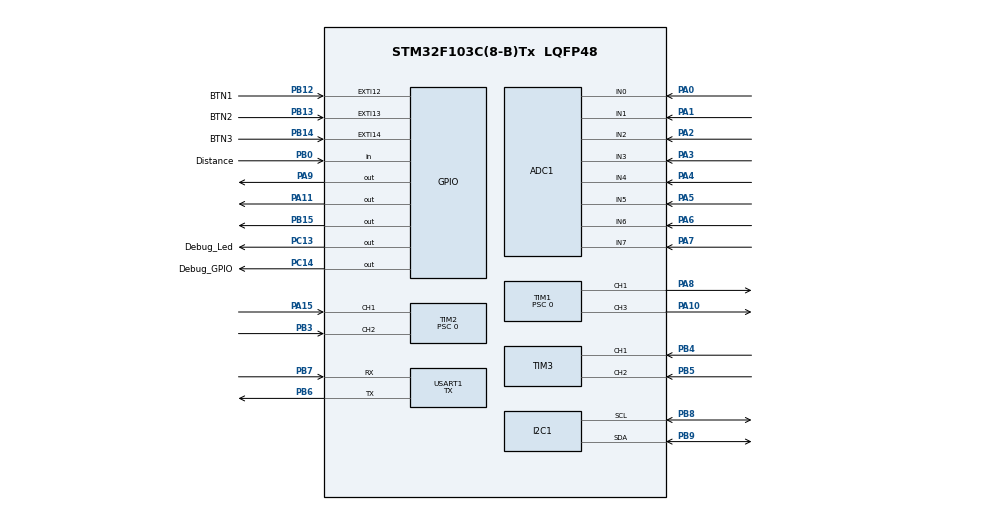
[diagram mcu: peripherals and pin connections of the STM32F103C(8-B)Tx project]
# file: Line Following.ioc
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ADC1.Channel-0\#ChannelRegularConversion=ADC_CHANNEL_0
ADC1.Channel-1\#ChannelRegularConversion=ADC_CHANNEL_1
ADC1.Channel-2\#ChannelRegularConversion=ADC_CHANNEL_2
ADC1.Channel-3\#ChannelRegularConversion=ADC_CHANNEL_3
ADC1.Channel-4\#ChannelRegularConversion=ADC_CHANNEL_4
ADC1.Channel-5\#ChannelRegularConversion=ADC_CHANNEL_5
ADC1.Channel-6\#ChannelRegularConversion=ADC_CHANNEL_6
ADC1.Channel-7\#ChannelRegularConversion=ADC_CHANNEL_7
ADC1.ContinuousConvMode=ENABLE
ADC1.NbrOfConversion=8
ADC1.NbrOfConversionFlag=1
ADC1.Rank-0\#ChannelRegularConversion=1
ADC1.Rank-1\#ChannelRegularConversion=2
ADC1.Rank-2\#ChannelRegularConversion=3
ADC1.Rank-3\#ChannelRegularConversion=4
ADC1.Rank-4\#ChannelRegularConversion=5
ADC1.Rank-5\#ChannelRegularConversion=6
ADC1.Rank-6\#ChannelRegularConversion=7
ADC1.Rank-7\#ChannelRegularConversion=8
ADC1.SamplingTime-0\#ChannelRegularConversion=ADC_SAMPLETIME_1CYCLE_5
ADC1.SamplingTime-1\#ChannelRegularConversion=ADC_SAMPLETIME_1CYCLE_5
ADC1.SamplingTime-2\#ChannelRegularConversion=ADC_SAMPLETIME_1CYCLE_5
ADC1.SamplingTime-3\#ChannelRegularConversion=ADC_SAMPLETIME_1CYCLE_5
ADC1.SamplingTime-4\#ChannelRegularConversion=ADC_SAMPLETIME_1CYCLE_5
ADC1.SamplingTime-5\#ChannelRegularConversion=ADC_SAMPLETIME_1CYCLE_5
ADC1.SamplingTime-6\#ChannelRegularConversion=ADC_SAMPLETIME_1CYCLE_5
ADC1.SamplingTime-7\#ChannelRegularConversion=ADC_SAMPLETIME_1CYCLE_5
ADC1.master=1
Dma.ADC1.0.Direction=DMA_PERIPH_TO_MEMORY
Dma.ADC1.0.Instance=DMA1_Channel1
Dma.ADC1.0.MemDataAlignment=DMA_MDATAALIGN_HALFWORD
Dma.ADC1.0.MemInc=DMA_MINC_ENABLE
Dma.ADC1.0.Mode=DMA_CIRCULAR
Dma.ADC1.0.PeriphDataAlignment=DMA_PDATAALIGN_HALFWORD
Dma.ADC1.0.PeriphInc=DMA_PINC_DISABLE
Dma.ADC1.0.Priority=DMA_PRIORITY_HIGH
Dma.Request0=ADC1
Mcu.Family=STM32F1
Mcu.Name=STM32F103C(8-B)Tx
Mcu.Package=LQFP48
NVIC.DMA1_Channel1_IRQn=true\:1\:0\:true\:false\:true\:false\:true
NVIC.EXTI15_10_IRQn=true\:2\:0\:true\:false\:true\:true\:true
NVIC.PriorityGroup=NVIC_PRIORITYGROUP_4
NVIC.TIM2_IRQn=true\:2\:0\:true\:false\:true\:true\:true
NVIC.TIM3_IRQn=true\:2\:0\:true\:false\:true\:true\:true
NVIC.TIM4_IRQn=true\:0\:0\:false\:false\:true\:true\:true
PA0-WKUP.Signal=ADCx_IN0
PA1.Signal=ADCx_IN1
PA10.GPIO_Speed=GPIO_SPEED_FREQ_HIGH
PA10.Signal=S_TIM1_CH3
PA11.GPIO_Speed=GPIO_SPEED_FREQ_HIGH
PA11.PinState=GPIO_PIN_RESET
PA11.Signal=GPIO_Output
PA13.Mode=Serial_Wire
PA13.Signal=SYS_JTMS-SWDIO
PA14.Mode=Serial_Wire
PA14.Signal=SYS_JTCK-SWCLK
PA15.GPIO_Mode=GPIO_MODE_INPUT
PA15.GPIO_PuPd=GPIO_NOPULL
PA15.Signal=S_TIM2_CH1_ETR
PA2.Signal=ADCx_IN2
PA3.Signal=ADCx_IN3
PA4.Signal=ADCx_IN4
PA5.Signal=ADCx_IN5
PA6.Signal=ADCx_IN6
PA7.Signal=ADCx_IN7
PA8.GPIO_Speed=GPIO_SPEED_FREQ_HIGH
PA8.Signal=S_TIM1_CH1
PA9.Signal=GPIO_Output
PB0.GPIO_Label=Distance
PB0.GPIO_PuPd=GPIO_PULLUP
PB0.Signal=GPIO_Input
PB12.GPIO_Label=BTN1
PB12.Signal=GPXTI12
PB13.GPIO_Label=BTN2
PB13.Signal=GPXTI13
PB14.GPIO_Label=BTN3
PB14.Signal=GPXTI14
PB15.GPIO_Speed=GPIO_SPEED_FREQ_HIGH
PB15.Signal=GPIO_Output
PB3.GPIO_Mode=GPIO_MODE_INPUT
PB3.GPIO_PuPd=GPIO_NOPULL
PB3.Signal=S_TIM2_CH2
PB4.GPIO_Mode=GPIO_MODE_INPUT
PB4.Signal=S_TIM3_CH1
PB5.GPIO_Mode=GPIO_MODE_INPUT
PB5.Signal=S_TIM3_CH2
PB6.Mode=Asynchronous
PB6.Signal=USART1_TX
PB7.Mode=Asynchronous
PB7.Signal=USART1_RX
PB8.GPIO_Pu=GPIO_PULLUP
PB8.Mode=I2C
PB8.Signal=I2C1_SCL
PB9.GPIO_Pu=GPIO_PULLUP
PB9.Mode=I2C
PB9.Signal=I2C1_SDA
PC13-TAMPER-RTC.GPIO_Label=Debug_Led
PC13-TAMPER-RTC.Signal=GPIO_Output
PC14-OSC32_IN.GPIO_Label=Debug_GPIO
PC14-OSC32_IN.GPIO_Speed=GPIO_SPEED_FREQ_HIGH
PC14-OSC32_IN.Signal=GPIO_Output
PD0-OSC_IN.Mode=HSE-External-Oscillator
PD0-OSC_IN.Signal=RCC_OSC_IN
PD1-OSC_OUT.Mode=HSE-External-Oscillator
PD1-OSC_OUT.Signal=RCC_OSC_OUT
ProjectManager.HeapSize=0x200
ProjectManager.StackSize=0x400
ProjectManager.TargetToolchain=STM32CubeIDE
RCC.ADCPresc=RCC_ADCPCLK2_DIV6
RCC.AHBFreq_Value=72000000
RCC.APB1CLKDivider=RCC_HCLK_DIV2
RCC.APB1Freq_Value=36000000
RCC.APB1TimFreq_Value=72000000
RCC.APB2Freq_Value=72000000
RCC.APB2TimFreq_Value=72000000
RCC.HCLKFreq_Value=72000000
RCC.PLLMUL=RCC_PLL_MUL9
RCC.PLLSourceVirtual=RCC_PLLSOURCE_HSE
RCC.SYSCLKFreq_VALUE=72000000
RCC.SYSCLKSource=RCC_SYSCLKSOURCE_PLLCLK
RCC.USBFreq_Value=72000000
RCC.VDD_VALUE=3.3
SH.ADCx_IN0.0=ADC1_IN0,IN0
SH.ADCx_IN1.0=ADC1_IN1,IN1
SH.ADCx_IN2.0=ADC1_IN2,IN2
SH.ADCx_IN3.0=ADC1_IN3,IN3
SH.ADCx_IN4.0=ADC1_IN4,IN4
SH.ADCx_IN5.0=ADC1_IN5,IN5
SH.ADCx_IN6.0=ADC1_IN6,IN6
SH.ADCx_IN7.0=ADC1_IN7,IN7
SH.S_TIM1_CH1.0=TIM1_CH1,PWM Generation1 CH1
SH.S_TIM1_CH3.0=TIM1_CH3,PWM Generation3 CH3
SH.S_TIM2_CH1_ETR.0=TIM2_CH1,Encoder_Interface
SH.S_TIM2_CH2.0=TIM2_CH2,Encoder_Interface
SH.S_TIM3_CH1.0=TIM3_CH1,Encoder_Interface
SH.S_TIM3_CH2.0=TIM3_CH2,Encoder_Interface
TIM1.AutoReloadPreload=TIM_AUTORELOAD_PRELOAD_DISABLE
TIM1.Channel-PWM\ Generation1\ CH1=TIM_CHANNEL_1
TIM1.Channel-PWM\ Generation3\ CH3=TIM_CHANNEL_3
TIM1.CounterMode=TIM_COUNTERMODE_UP
TIM1.OC1Preload_PWM=ENABLE
TIM1.OCIdleState_1=TIM_OCIDLESTATE_RESET
TIM1.OCPolarity_1=TIM_OCPOLARITY_HIGH
TIM1.Period=7199
TIM1.Prescaler=0
TIM1.Pulse-PWM\ Generation1\ CH1=0
TIM1.Pulse-PWM\ Generation3\ CH3=0
TIM2.AutoReloadPreload=TIM_AUTORELOAD_PRELOAD_DISABLE
TIM2.EncoderMode=TIM_ENCODERMODE_TI12
TIM2.IC1Filter=0
TIM2.IC1Polarity=TIM_ICPOLARITY_RISING
TIM2.IC2Filter=0
TIM2.IC2Polarity=TIM_ICPOLARITY_RISING
TIM2.Prescaler=0
TIM3.EncoderMode=TIM_ENCODERMODE_TI12
TIM4.AutoReloadPreload=TIM_AUTORELOAD_PRELOAD_DISABLE
TIM4.Channel-Output\ Compare2\ No\ Output=TIM_CHANNEL_2
TIM4.Channel-PWM\ Generation1\ No\ Output=TIM_CHANNEL_1
TIM4.ClockDivision=TIM_CLOCKDIVISION_DIV1
TIM4.OC1Preload_PWM=DISABLE
TIM4.OCMode_2=TIM_OCMODE_TIMING
TIM4.OCPolarity_1=TIM_OCPOLARITY_HIGH
TIM4.Period=59999
TIM4.Prescaler=23
TIM4.Pulse-Output\ Compare2\ No\ Output=4500
TIM4.Pulse-PWM\ Generation1\ No\ Output=4500
USART1.Mode=MODE_TX
USART1.VirtualMode=VM_ASYNC
VP_TIM4_VS_ClockSourceINT.Mode=Internal
VP_TIM4_VS_no_output1.Mode=PWM Generation1 No Output
VP_TIM4_VS_no_output2.Mode=Output Compare2 No Output
board=custom

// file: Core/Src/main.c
/* USER CODE BEGIN Header */
/**
 ******************************************************************************
 * @file           : main.c
 * @brief          : Main program body
 ******************************************************************************
 * @attention
 *
 * <h2><center>&copy; Copyright (c) 2020 .
 * All rights reserved.</center></h2>
 *
 * This software component is licensed by ST under BSD 3-Clause license,
 * the "License"; You may not use this file STMicroelectronicsexcept in compliance with the
 * License. You may obtain a copy of the License at:
 *                        opensource.org/licenses/BSD-3-Clause
 *
 ******************************************************************************
 */
/* USER CODE END Header */
#include "main.h"

/* USER CODE BEGIN Includes */

#include "MotorControl.h"
/* USER CODE END Includes */

/* USER CODE BEGIN PD */
#define NormalRun 1

#define ADC1_DR_Address ((uint32_t)0x4001244C)
#define ADC_Sample_Times 1000000 // So Lan doc ADC Lay nguong
#define NumberOfSensor 8

#define DiThang 0
#define LechPhai 1
#define LechTrai -1

#define HalfLeft -1
#define HalfRight 1

#define CuaTrai -1
#define CuaPhai 1
#define BTN_Servo_Step 0.6;

#define MaximumSpeed 6900
#define SignalSpeed 2000
/* USER CODE END PD */

/* USER CODE BEGIN PM */
#define sbi(Reg, Bit) (Reg |= (1 << Bit))
#define cbi(Reg, Bit) (Reg &= ~(1 << Bit))

/* USER CODE END PM */

/* USER CODE BEGIN PV */

// Sensor Related Variable
volatile uint16_t Sensor_ADC_Value[8];
//uint16_t Sensor_Threshold[] = { 1500, 1500, 1200, 1800, 1200, 1500, 1200, 1500 }; // Morning
uint16_t Sensor_Threshold[] = { 1500, 2000, 2000, 2500, 1600, 2000, 1200, 1500 }; // Morning

uint8_t GetThreshold_Flag = 0;
//int8_t MaxAngle = 70;
float ServoAngle = 0.00;

// Motor Related Variable
uint16_t MaxSpeed = 7200;
uint8_t LineDetect = 0;
int8_t CarState = 0;

int8_t ChuyenLaneFlag = 0;
int8_t HalfWhiteFlag = 0;
int8_t HalfWhiteFlag_Raw = 0;
int8_t CuaFlag = 0;
uint8_t FullWhiteFlag = 0;
uint8_t MatLineFlag = 0;

/* USER CODE END PV */

void SystemClock_Config(void);
static void MX_GPIO_Init(void);
static void MX_DMA_Init(void);
static void MX_TIM1_Init(void);
static void MX_ADC1_Init(void);
static void MX_I2C1_Init(void);
static void MX_USART1_UART_Init(void);
static void MX_TIM2_Init(void);
static void MX_TIM3_Init(void);
static void MX_TIM4_Init(void);
/* USER CODE BEGIN PFP */

void GetThreshold();
void Sensor_Convert_A2D();//Cost Time: 6 us with full Black . 8 uS with full white
void Sensor_Print_Thres();
void Sensor_PrintValue();
void Sensor_Print_LineDetect();
void BTN_Process();
void Car_DiThang_Process();
void Car_BamLine_Process();
void Car_MatLine_Process();
void Car_ChuyenLanePhai_Process();
void Car_ChuyenLaneTrai_Process();
void Car_CuaPhai_Process();
void Car_CuaTrai_Process();
void Car_Avoid_Process();
/* USER CODE END PFP */

/* USER CODE BEGIN 0 */
PUTCHAR_PROTOTYPE {
	while (LL_USART_IsActiveFlag_TC(USART1) == 0) {
	}
	LL_USART_TransmitData8(USART1, (uint8_t) ch);

	return ch;
}
/* USER CODE END 0 */

int main(void)
{

  /* MCU Configuration--------------------------------------------------------*/

  /* Reset of all peripherals, Initializes the Flash interface and the Systick. */

  LL_APB2_GRP1_EnableClock(LL_APB2_GRP1_PERIPH_AFIO);
  LL_APB1_GRP1_EnableClock(LL_APB1_GRP1_PERIPH_PWR);

  NVIC_SetPriorityGrouping(NVIC_PRIORITYGROUP_4);

  /* System interrupt init*/
  /* MemoryManagement_IRQn interrupt configuration */
  NVIC_SetPriority(MemoryManagement_IRQn, NVIC_EncodePriority(NVIC_GetPriorityGrouping(),1, 0));
  /* BusFault_IRQn interrupt configuration */
  NVIC_SetPriority(BusFault_IRQn, NVIC_EncodePriority(NVIC_GetPriorityGrouping(),1, 0));
  /* UsageFault_IRQn interrupt configuration */
  NVIC_SetPriority(UsageFault_IRQn, NVIC_EncodePriority(NVIC_GetPriorityGrouping(),1, 0));
  /* SVCall_IRQn interrupt configuration */
  NVIC_SetPriority(SVCall_IRQn, NVIC_EncodePriority(NVIC_GetPriorityGrouping(),1, 0));
  /* DebugMonitor_IRQn interrupt configuration */
  NVIC_SetPriority(DebugMonitor_IRQn, NVIC_EncodePriority(NVIC_GetPriorityGrouping(),1, 0));
  /* PendSV_IRQn interrupt configuration */
  NVIC_SetPriority(PendSV_IRQn, NVIC_EncodePriority(NVIC_GetPriorityGrouping(),1, 0));
  /* SysTick_IRQn interrupt configuration */
  NVIC_SetPriority(SysTick_IRQn, NVIC_EncodePriority(NVIC_GetPriorityGrouping(),1, 0));

  /** NOJTAG: JTAG-DP Disabled and SW-DP Enabled
  */
  LL_GPIO_AF_Remap_SWJ_NOJTAG();

  /* USER CODE BEGIN Init */
	setvbuf(stdin, NULL, _IONBF, 0);
	setvbuf(stdout, NULL, _IONBF, 0);
	setvbuf(stderr, NULL, _IONBF, 0);
  /* USER CODE END Init */

  /* Configure the system clock */
  SystemClock_Config();

  /* Initialize all configured peripherals */
  MX_GPIO_Init();
  MX_DMA_Init();
  MX_TIM1_Init();
  MX_ADC1_Init();
  MX_I2C1_Init();
  MX_USART1_UART_Init();
  MX_TIM2_Init();
  MX_TIM3_Init();
  MX_TIM4_Init();
  /* USER CODE BEGIN 2 */
	MotorL_EnablePWM();
	MotorR_EnablePWM();
	MotorL_SetPWM(0);
	MotorR_SetPWM(0);
	Servo_SetAngle(0);
	//  OC2_IT_Setmillis(2.5);

  /* USER CODE END 2 */

  /* Infinite loop */
  /* USER CODE BEGIN WHILE */

	//  uint32_t Count = LL_TIM_GetCounter(TIM2);
	uint8_t DistanceState = 0;
	while (1) {
//		LL_mDelay(1);
	Sensor_Convert_A2D();
//    Sensor_PrintValue();

#if NormalRun == 0
		BTN_Process();
		//	  Sensor_Print_Thres();
		Sensor_PrintValue();
//    	  LL_mDelay(200);
//	  Sensor_Print_LineDetect();
#endif

#if NormalRun == 1

    DistanceState = LL_GPIO_IsInputPinSet(Distance_GPIO_Port, Distance_Pin);

    if(GetThreshold_Flag == 1)
    {
    	while(LL_GPIO_IsInputPinSet(BTN1_GPIO_Port,BTN1_Pin) == 0);
    	GetThreshold_Flag = 0;
    	GetThreshold();
    }
    if(BTN3_Flag == 0){
    	MotorL_SetPWM(0);
    	MotorR_SetPWM(0);
    	Servo_SetAngle(0);
    	CarState = 0;
    	FullWhiteFlag = 0;
    	HalfWhiteFlag = 0;
    	HalfWhiteFlag_Raw = 0;
    	MatLineFlag = 0;
    	CuaFlag = 0;
    	LineDetect = 0;
    	continue;
    }
    if (HalfWhiteFlag != 0 || FullWhiteFlag != 0 ||
    	HalfWhiteFlag_Raw != 0 || ChuyenLaneFlag != 0)
    {
      MaxSpeed = SignalSpeed;
    }
    else
    {
      MaxSpeed = MaximumSpeed;
    }
    if (CarState == DiThang)
        {
          if (LineDetect == 0b10000000 || LineDetect == 0b11000000 ||
              LineDetect == 0b11100000 || LineDetect == 0b01110000 ||
              LineDetect == 0b00110000 || LineDetect == 0b00010000)
          {
            CarState = LechPhai;// 25-30us
          }
          else if (LineDetect == 0b00000001 || LineDetect == 0b00000011 ||
                   LineDetect == 0b00000111 || LineDetect == 0b00001110 ||
                   LineDetect == 0b00001100 || LineDetect == 0b00001000)
          {
            CarState = LechTrai;// 25-30us
          }
        }
    if(FullWhiteFlag == 1 && DistanceState == 0)
    {
    	Car_Avoid_Process();
    	FullWhiteFlag = 0;

		continue;
    }
    if (LineDetect == 0b00011000 || LineDetect == 0b00011100 || LineDetect == 0b00111000) // 18.8 us
    {
      if (HalfWhiteFlag_Raw == HalfLeft)
      {
        HalfWhiteFlag_Raw = 0;
        HalfWhiteFlag = HalfLeft;
      }
      else if (HalfWhiteFlag_Raw == HalfRight)
      {
        HalfWhiteFlag_Raw = 0;
        HalfWhiteFlag = HalfRight;
      }

      MatLineFlag = 0;
      ChuyenLaneFlag = 0;
      CarState = DiThang;

      Car_DiThang_Process();
      continue;
    }
    else if (LineDetect == 0b01111111 || LineDetect == 0b00111111 || LineDetect == 0b00011111)
    {
    	if(FullWhiteFlag == 1)
    	{
    		FullWhiteFlag = 0;
    		while(LineDetect != 0)
    			Sensor_Convert_A2D();
    		Car_CuaPhai_Process();
    		HalfWhiteFlag = 0;
    		continue;
    	} else if(ChuyenLaneFlag == 0)
    	{
    		HalfWhiteFlag_Raw = HalfRight;
        	while(LineDetect == 0b01111111 || LineDetect == 0b00111111 || LineDetect == 0b00011111 || LineDetect == 0b00001111)
        	{
        		Sensor_Convert_A2D();
        	}
    	};

    }
    else if (LineDetect == 0b11111000 || LineDetect == 0b11111100 || LineDetect == 0b11111110)
    {
    	if(FullWhiteFlag == 1)
    	{
    		FullWhiteFlag = 0;
    		while(LineDetect != 0)
    			Sensor_Convert_A2D();
    		Car_CuaTrai_Process();
    		HalfWhiteFlag = 0;
    		continue;
    	} else if(ChuyenLaneFlag == 0)
    	{
    		HalfWhiteFlag_Raw = HalfLeft;
        	while(LineDetect == 0b11111000 || LineDetect == 0b11111100 || LineDetect == 0b11111110)
        	{
        		Sensor_Convert_A2D();
        	}
    	}
    }
    else if (LineDetect == 0xff)
    {

    	if(HalfWhiteFlag == HalfLeft)
    	{
    		while(LineDetect != 0)
    			Sensor_Convert_A2D();
    		Car_CuaTrai_Process();
    		CuaFlag = 0;
    		HalfWhiteFlag = 0;
    		HalfWhiteFlag_Raw = 0;
    		continue;
    	} else if(HalfWhiteFlag == HalfRight)
    	{
    		while(LineDetect != 0)
    		{
    			Sensor_Convert_A2D();
    		}
    		Car_CuaPhai_Process();
    		CuaFlag = 0;
    		HalfWhiteFlag = 0;
    		HalfWhiteFlag_Raw = 0;
    		continue;
    	}else
    	{
    		FullWhiteFlag = 1;
    		HalfWhiteFlag_Raw = 0;
    	}
    	while(!(LineDetect == 0b00011000 || LineDetect == 0b00011100 || LineDetect == 0b00111000||
    			LineDetect == 0b11100000 || LineDetect == 0b01110000 ||
    			LineDetect == 0b00110000 || LineDetect == 0b00010000 ||
				LineDetect == 0b00000111 || LineDetect == 0b00001110 ||
				LineDetect == 0b00001100 || LineDetect == 0b00001000 ||
				LineDetect == 0))
    	    			Sensor_Convert_A2D();
    	HalfWhiteFlag_Raw = 0;
    }
    else if (LineDetect == 0)
    {
    	if (HalfWhiteFlag == HalfRight)
    	{
    		HalfWhiteFlag = 0;
    		HalfWhiteFlag_Raw = 0;
    		Car_ChuyenLanePhai_Process();
    		continue;
    	} else if(HalfWhiteFlag == HalfLeft)
    	{
    		HalfWhiteFlag = 0;
    		HalfWhiteFlag_Raw = 0;
    		Car_ChuyenLaneTrai_Process();
    		continue;
    	} else if(FullWhiteFlag == 1)
    	{
    		FullWhiteFlag = 0 ;
    		HalfWhiteFlag_Raw = 0;
    		Servo_SetAngle(-10);
    		MotorL_SetPWM(MaxSpeed * 1.2);
    		MotorR_SetPWM(MaxSpeed * 1.5);
    		while(!(LineDetect == 0b00011000 || LineDetect == 0b00011100 || LineDetect == 0b00111000))
    		{
    			Sensor_Convert_A2D();
    			Car_MatLine_Process();
    		}
    		continue;
    	}
    };
      Car_BamLine_Process();
#endif
    /* USER CODE END WHILE */

	}
}

void SystemClock_Config(void)
{
  LL_FLASH_SetLatency(LL_FLASH_LATENCY_2);
  while(LL_FLASH_GetLatency()!= LL_FLASH_LATENCY_2)
  {
  }
  LL_RCC_HSE_Enable();

   /* Wait till HSE is ready */
  while(LL_RCC_HSE_IsReady() != 1)
  {

  }
  LL_RCC_PLL_ConfigDomain_SYS(LL_RCC_PLLSOURCE_HSE_DIV_1, LL_RCC_PLL_MUL_9);
  LL_RCC_PLL_Enable();

   /* Wait till PLL is ready */
  while(LL_RCC_PLL_IsReady() != 1)
  {

  }
  LL_RCC_SetAHBPrescaler(LL_RCC_SYSCLK_DIV_1);
  LL_RCC_SetAPB1Prescaler(LL_RCC_APB1_DIV_2);
  LL_RCC_SetAPB2Prescaler(LL_RCC_APB2_DIV_1);
  LL_RCC_SetSysClkSource(LL_RCC_SYS_CLKSOURCE_PLL);

   /* Wait till System clock is ready */
  while(LL_RCC_GetSysClkSource() != LL_RCC_SYS_CLKSOURCE_STATUS_PLL)
  {

  }
  LL_Init1msTick(72000000);
  LL_SetSystemCoreClock(72000000);
  LL_RCC_SetADCClockSource(LL_RCC_ADC_CLKSRC_PCLK2_DIV_6);
}

static void MX_ADC1_Init(void)
{

  LL_ADC_InitTypeDef ADC_InitStruct = {0};
  LL_ADC_CommonInitTypeDef ADC_CommonInitStruct = {0};
  LL_ADC_REG_InitTypeDef ADC_REG_InitStruct = {0};

  LL_GPIO_InitTypeDef GPIO_InitStruct = {0};

  /* Peripheral clock enable */
  LL_APB2_GRP1_EnableClock(LL_APB2_GRP1_PERIPH_ADC1);

  LL_APB2_GRP1_EnableClock(LL_APB2_GRP1_PERIPH_GPIOA);
  /**ADC1 GPIO Configuration
  PA0-WKUP   ------> ADC1_IN0
  PA1   ------> ADC1_IN1
  PA2   ------> ADC1_IN2
  PA3   ------> ADC1_IN3
  PA4   ------> ADC1_IN4
  PA5   ------> ADC1_IN5
  PA6   ------> ADC1_IN6
  PA7   ------> ADC1_IN7
  */
  GPIO_InitStruct.Pin = LL_GPIO_PIN_0|LL_GPIO_PIN_1|LL_GPIO_PIN_2|LL_GPIO_PIN_3
                          |LL_GPIO_PIN_4|LL_GPIO_PIN_5|LL_GPIO_PIN_6|LL_GPIO_PIN_7;
  GPIO_InitStruct.Mode = LL_GPIO_MODE_ANALOG;
  LL_GPIO_Init(GPIOA, &GPIO_InitStruct);

  /* ADC1 DMA Init */

  /* ADC1 Init */
  LL_DMA_SetDataTransferDirection(DMA1, LL_DMA_CHANNEL_1, LL_DMA_DIRECTION_PERIPH_TO_MEMORY);

  LL_DMA_SetChannelPriorityLevel(DMA1, LL_DMA_CHANNEL_1, LL_DMA_PRIORITY_HIGH);

  LL_DMA_SetMode(DMA1, LL_DMA_CHANNEL_1, LL_DMA_MODE_CIRCULAR);

  LL_DMA_SetPeriphIncMode(DMA1, LL_DMA_CHANNEL_1, LL_DMA_PERIPH_NOINCREMENT);

  LL_DMA_SetMemoryIncMode(DMA1, LL_DMA_CHANNEL_1, LL_DMA_MEMORY_INCREMENT);

  LL_DMA_SetPeriphSize(DMA1, LL_DMA_CHANNEL_1, LL_DMA_PDATAALIGN_HALFWORD);

  LL_DMA_SetMemorySize(DMA1, LL_DMA_CHANNEL_1, LL_DMA_MDATAALIGN_HALFWORD);

  /* USER CODE BEGIN ADC1_Init 1 */
	LL_DMA_SetDataLength(DMA1, LL_DMA_CHANNEL_1, 8);
	LL_DMA_SetMemoryAddress(DMA1, LL_DMA_CHANNEL_1,
			(uint32_t) &Sensor_ADC_Value);
	LL_DMA_SetPeriphAddress(DMA1, LL_DMA_CHANNEL_1, ADC1_DR_Address);
	LL_DMA_EnableChannel(DMA1, LL_DMA_CHANNEL_1);
  /* USER CODE END ADC1_Init 1 */
  /** Common config
  */
  ADC_InitStruct.DataAlignment = LL_ADC_DATA_ALIGN_RIGHT;
  ADC_InitStruct.SequencersScanMode = LL_ADC_SEQ_SCAN_ENABLE;
  LL_ADC_Init(ADC1, &ADC_InitStruct);
  ADC_CommonInitStruct.Multimode = LL_ADC_MULTI_INDEPENDENT;
  LL_ADC_CommonInit(__LL_ADC_COMMON_INSTANCE(ADC1), &ADC_CommonInitStruct);
  ADC_REG_InitStruct.TriggerSource = LL_ADC_REG_TRIG_SOFTWARE;
  ADC_REG_InitStruct.SequencerLength = LL_ADC_REG_SEQ_SCAN_ENABLE_8RANKS;
  ADC_REG_InitStruct.SequencerDiscont = LL_ADC_REG_SEQ_DISCONT_DISABLE;
  ADC_REG_InitStruct.ContinuousMode = LL_ADC_REG_CONV_CONTINUOUS;
  ADC_REG_InitStruct.DMATransfer = LL_ADC_REG_DMA_TRANSFER_UNLIMITED;
  LL_ADC_REG_Init(ADC1, &ADC_REG_InitStruct);
  /** Configure Regular Channel
  */
  LL_ADC_REG_SetSequencerRanks(ADC1, LL_ADC_REG_RANK_1, LL_ADC_CHANNEL_0);
  LL_ADC_SetChannelSamplingTime(ADC1, LL_ADC_CHANNEL_0, LL_ADC_SAMPLINGTIME_1CYCLE_5);
  /** Configure Regular Channel
  */
  LL_ADC_REG_SetSequencerRanks(ADC1, LL_ADC_REG_RANK_2, LL_ADC_CHANNEL_1);
  LL_ADC_SetChannelSamplingTime(ADC1, LL_ADC_CHANNEL_1, LL_ADC_SAMPLINGTIME_1CYCLE_5);
  /** Configure Regular Channel
  */
  LL_ADC_REG_SetSequencerRanks(ADC1, LL_ADC_REG_RANK_3, LL_ADC_CHANNEL_2);
  LL_ADC_SetChannelSamplingTime(ADC1, LL_ADC_CHANNEL_2, LL_ADC_SAMPLINGTIME_1CYCLE_5);
  /** Configure Regular Channel
  */
  LL_ADC_REG_SetSequencerRanks(ADC1, LL_ADC_REG_RANK_4, LL_ADC_CHANNEL_3);
  LL_ADC_SetChannelSamplingTime(ADC1, LL_ADC_CHANNEL_3, LL_ADC_SAMPLINGTIME_1CYCLE_5);
  /** Configure Regular Channel
  */
  LL_ADC_REG_SetSequencerRanks(ADC1, LL_ADC_REG_RANK_5, LL_ADC_CHANNEL_4);
  LL_ADC_SetChannelSamplingTime(ADC1, LL_ADC_CHANNEL_4, LL_ADC_SAMPLINGTIME_1CYCLE_5);
  /** Configure Regular Channel
  */
  LL_ADC_REG_SetSequencerRanks(ADC1, LL_ADC_REG_RANK_6, LL_ADC_CHANNEL_5);
  LL_ADC_SetChannelSamplingTime(ADC1, LL_ADC_CHANNEL_5, LL_ADC_SAMPLINGTIME_1CYCLE_5);
  /** Configure Regular Channel
  */
  LL_ADC_REG_SetSequencerRanks(ADC1, LL_ADC_REG_RANK_7, LL_ADC_CHANNEL_6);
  LL_ADC_SetChannelSamplingTime(ADC1, LL_ADC_CHANNEL_6, LL_ADC_SAMPLINGTIME_1CYCLE_5);
  /** Configure Regular Channel
  */
  LL_ADC_REG_SetSequencerRanks(ADC1, LL_ADC_REG_RANK_8, LL_ADC_CHANNEL_7);
  LL_ADC_SetChannelSamplingTime(ADC1, LL_ADC_CHANNEL_7, LL_ADC_SAMPLINGTIME_1CYCLE_5);
  /* USER CODE BEGIN ADC1_Init 2 */

	LL_ADC_REG_SetDMATransfer(ADC1, LL_ADC_REG_DMA_TRANSFER_UNLIMITED);
	/* Khoi dong bo ADC */
	LL_ADC_Enable(ADC1);
	LL_ADC_StartCalibration(ADC1);

	/* Cho trang thai cablib duoc bat *
	 *
	 */
	while (LL_ADC_IsCalibrationOnGoing(ADC1))
		;

	/* Bat dau chuyen doi ADC */
	LL_ADC_REG_StartConversionSWStart(ADC1);
  /* USER CODE END ADC1_Init 2 */

}

static void MX_I2C1_Init(void)
{

  LL_I2C_InitTypeDef I2C_InitStruct = {0};

  LL_GPIO_InitTypeDef GPIO_InitStruct = {0};

  LL_APB2_GRP1_EnableClock(LL_APB2_GRP1_PERIPH_GPIOB);
  /**I2C1 GPIO Configuration
  PB8   ------> I2C1_SCL
  PB9   ------> I2C1_SDA
  */
  GPIO_InitStruct.Pin = LL_GPIO_PIN_8|LL_GPIO_PIN_9;
  GPIO_InitStruct.Mode = LL_GPIO_MODE_ALTERNATE;
  GPIO_InitStruct.Speed = LL_GPIO_SPEED_FREQ_HIGH;
  GPIO_InitStruct.OutputType = LL_GPIO_OUTPUT_OPENDRAIN;
  LL_GPIO_Init(GPIOB, &GPIO_InitStruct);

  LL_GPIO_AF_EnableRemap_I2C1();

  /* Peripheral clock enable */
  LL_APB1_GRP1_EnableClock(LL_APB1_GRP1_PERIPH_I2C1);

  /** I2C Initialization
  */
  LL_I2C_DisableOwnAddress2(I2C1);
  LL_I2C_DisableGeneralCall(I2C1);
  LL_I2C_EnableClockStretching(I2C1);
  I2C_InitStruct.PeripheralMode = LL_I2C_MODE_I2C;
  I2C_InitStruct.ClockSpeed = 100000;
  I2C_InitStruct.DutyCycle = LL_I2C_DUTYCYCLE_2;
  I2C_InitStruct.OwnAddress1 = 0;
  I2C_InitStruct.TypeAcknowledge = LL_I2C_ACK;
  I2C_InitStruct.OwnAddrSize = LL_I2C_OWNADDRESS1_7BIT;
  LL_I2C_Init(I2C1, &I2C_InitStruct);
  LL_I2C_SetOwnAddress2(I2C1, 0);
  /* USER CODE BEGIN I2C1_Init 2 */
	LL_I2C_Enable(I2C1);

  /* USER CODE END I2C1_Init 2 */

}

static void MX_TIM1_Init(void)
{

  LL_TIM_InitTypeDef TIM_InitStruct = {0};
  LL_TIM_OC_InitTypeDef TIM_OC_InitStruct = {0};
  LL_TIM_BDTR_InitTypeDef TIM_BDTRInitStruct = {0};

  LL_GPIO_InitTypeDef GPIO_InitStruct = {0};

  /* Peripheral clock enable */
  LL_APB2_GRP1_EnableClock(LL_APB2_GRP1_PERIPH_TIM1);

  TIM_InitStruct.Prescaler = 0;
  TIM_InitStruct.CounterMode = LL_TIM_COUNTERMODE_UP;
  TIM_InitStruct.Autoreload = 7199;
  TIM_InitStruct.ClockDivision = LL_TIM_CLOCKDIVISION_DIV1;
  TIM_InitStruct.RepetitionCounter = 0;
  LL_TIM_Init(TIM1, &TIM_InitStruct);
  LL_TIM_DisableARRPreload(TIM1);
  LL_TIM_OC_EnablePreload(TIM1, LL_TIM_CHANNEL_CH1);
  TIM_OC_InitStruct.OCMode = LL_TIM_OCMODE_PWM1;
  TIM_OC_InitStruct.OCState = LL_TIM_OCSTATE_DISABLE;
  TIM_OC_InitStruct.OCNState = LL_TIM_OCSTATE_DISABLE;
  TIM_OC_InitStruct.CompareValue = 0;
  TIM_OC_InitStruct.OCPolarity = LL_TIM_OCPOLARITY_HIGH;
  TIM_OC_InitStruct.OCNPolarity = LL_TIM_OCPOLARITY_HIGH;
  TIM_OC_InitStruct.OCIdleState = LL_TIM_OCIDLESTATE_LOW;
  TIM_OC_InitStruct.OCNIdleState = LL_TIM_OCIDLESTATE_LOW;
  LL_TIM_OC_Init(TIM1, LL_TIM_CHANNEL_CH1, &TIM_OC_InitStruct);
  LL_TIM_OC_DisableFast(TIM1, LL_TIM_CHANNEL_CH1);
  LL_TIM_OC_EnablePreload(TIM1, LL_TIM_CHANNEL_CH3);
  LL_TIM_OC_Init(TIM1, LL_TIM_CHANNEL_CH3, &TIM_OC_InitStruct);
  LL_TIM_OC_DisableFast(TIM1, LL_TIM_CHANNEL_CH3);
  LL_TIM_SetTriggerOutput(TIM1, LL_TIM_TRGO_RESET);
  LL_TIM_DisableMasterSlaveMode(TIM1);
  TIM_BDTRInitStruct.OSSRState = LL_TIM_OSSR_DISABLE;
  TIM_BDTRInitStruct.OSSIState = LL_TIM_OSSI_DISABLE;
  TIM_BDTRInitStruct.LockLevel = LL_TIM_LOCKLEVEL_OFF;
  TIM_BDTRInitStruct.DeadTime = 0;
  TIM_BDTRInitStruct.BreakState = LL_TIM_BREAK_DISABLE;
  TIM_BDTRInitStruct.BreakPolarity = LL_TIM_BREAK_POLARITY_HIGH;
  TIM_BDTRInitStruct.AutomaticOutput = LL_TIM_AUTOMATICOUTPUT_DISABLE;
  LL_TIM_BDTR_Init(TIM1, &TIM_BDTRInitStruct);
  /* USER CODE BEGIN TIM1_Init 2 */
	LL_TIM_EnableIT_UPDATE(TIM1);
	LL_TIM_SetCounter(TIM1, 0);
	LL_TIM_EnableAllOutputs(TIM1);
	LL_TIM_EnableCounter(TIM1);

  /* USER CODE END TIM1_Init 2 */
  LL_APB2_GRP1_EnableClock(LL_APB2_GRP1_PERIPH_GPIOA);
  /**TIM1 GPIO Configuration
  PA8   ------> TIM1_CH1
  PA10   ------> TIM1_CH3
  */
  GPIO_InitStruct.Pin = LL_GPIO_PIN_8|LL_GPIO_PIN_10;
  GPIO_InitStruct.Mode = LL_GPIO_MODE_ALTERNATE;
  GPIO_InitStruct.Speed = LL_GPIO_SPEED_FREQ_HIGH;
  GPIO_InitStruct.OutputType = LL_GPIO_OUTPUT_PUSHPULL;
  LL_GPIO_Init(GPIOA, &GPIO_InitStruct);

}

static void MX_TIM2_Init(void)
{

  LL_TIM_InitTypeDef TIM_InitStruct = {0};

  LL_GPIO_InitTypeDef GPIO_InitStruct = {0};

  /* Peripheral clock enable */
  LL_APB1_GRP1_EnableClock(LL_APB1_GRP1_PERIPH_TIM2);

  LL_APB2_GRP1_EnableClock(LL_APB2_GRP1_PERIPH_GPIOA);
  LL_APB2_GRP1_EnableClock(LL_APB2_GRP1_PERIPH_GPIOB);
  /**TIM2 GPIO Configuration
  PA15   ------> TIM2_CH1
  PB3   ------> TIM2_CH2
  */
  GPIO_InitStruct.Pin = LL_GPIO_PIN_15;
  GPIO_InitStruct.Mode = LL_GPIO_MODE_FLOATING;
  LL_GPIO_Init(GPIOA, &GPIO_InitStruct);

  GPIO_InitStruct.Pin = LL_GPIO_PIN_3;
  GPIO_InitStruct.Mode = LL_GPIO_MODE_FLOATING;
  LL_GPIO_Init(GPIOB, &GPIO_InitStruct);

  /* TIM2 interrupt Init */
  NVIC_SetPriority(TIM2_IRQn, NVIC_EncodePriority(NVIC_GetPriorityGrouping(),2, 0));
  NVIC_EnableIRQ(TIM2_IRQn);

  /* USER CODE BEGIN TIM2_Init 1 */
	LL_GPIO_AF_EnableRemap_TIM2();
  /* USER CODE END TIM2_Init 1 */
  LL_TIM_SetEncoderMode(TIM2, LL_TIM_ENCODERMODE_X4_TI12);
  LL_TIM_IC_SetActiveInput(TIM2, LL_TIM_CHANNEL_CH1, LL_TIM_ACTIVEINPUT_DIRECTTI);
  LL_TIM_IC_SetPrescaler(TIM2, LL_TIM_CHANNEL_CH1, LL_TIM_ICPSC_DIV1);
  LL_TIM_IC_SetFilter(TIM2, LL_TIM_CHANNEL_CH1, LL_TIM_IC_FILTER_FDIV1);
  LL_TIM_IC_SetPolarity(TIM2, LL_TIM_CHANNEL_CH1, LL_TIM_IC_POLARITY_RISING);
  LL_TIM_IC_SetActiveInput(TIM2, LL_TIM_CHANNEL_CH2, LL_TIM_ACTIVEINPUT_DIRECTTI);
  LL_TIM_IC_SetPrescaler(TIM2, LL_TIM_CHANNEL_CH2, LL_TIM_ICPSC_DIV1);
  LL_TIM_IC_SetFilter(TIM2, LL_TIM_CHANNEL_CH2, LL_TIM_IC_FILTER_FDIV1);
  LL_TIM_IC_SetPolarity(TIM2, LL_TIM_CHANNEL_CH2, LL_TIM_IC_POLARITY_RISING);
  TIM_InitStruct.Prescaler = 0;
  TIM_InitStruct.CounterMode = LL_TIM_COUNTERMODE_UP;
  TIM_InitStruct.Autoreload = 65535;
  TIM_InitStruct.ClockDivision = LL_TIM_CLOCKDIVISION_DIV1;
  LL_TIM_Init(TIM2, &TIM_InitStruct);
  LL_TIM_DisableARRPreload(TIM2);
  LL_TIM_SetTriggerOutput(TIM2, LL_TIM_TRGO_RESET);
  LL_TIM_DisableMasterSlaveMode(TIM2);
  /* USER CODE BEGIN TIM2_Init 2 */
	//  LL_TIM_CC_EnableChannel(TIM2,LL_TIM_CHANNEL_CH1);
	//  LL_TIM_CC_EnableChannel(TIM2,LL_TIM_CHANNEL_CH2);
	LL_TIM_SetCounter(TIM2, 0);
	LL_TIM_ClearFlag_UPDATE(TIM2);
	LL_TIM_EnableIT_UPDATE(TIM2);
	LL_TIM_EnableCounter(TIM2);
  /* USER CODE END TIM2_Init 2 */

}

static void MX_TIM3_Init(void)
{

  LL_TIM_InitTypeDef TIM_InitStruct = {0};

  LL_GPIO_InitTypeDef GPIO_InitStruct = {0};

  /* Peripheral clock enable */
  LL_APB1_GRP1_EnableClock(LL_APB1_GRP1_PERIPH_TIM3);

  LL_APB2_GRP1_EnableClock(LL_APB2_GRP1_PERIPH_GPIOB);
  /**TIM3 GPIO Configuration
  PB4   ------> TIM3_CH1
  PB5   ------> TIM3_CH2
  */
  GPIO_InitStruct.Pin = LL_GPIO_PIN_4|LL_GPIO_PIN_5;
  GPIO_InitStruct.Mode = LL_GPIO_MODE_FLOATING;
  LL_GPIO_Init(GPIOB, &GPIO_InitStruct);

  /* TIM3 interrupt Init */
  NVIC_SetPriority(TIM3_IRQn, NVIC_EncodePriority(NVIC_GetPriorityGrouping(),2, 0));
  NVIC_EnableIRQ(TIM3_IRQn);

  /* USER CODE BEGIN TIM3_Init 1 */
	LL_GPIO_AF_RemapPartial_TIM3();
  /* USER CODE END TIM3_Init 1 */
  LL_TIM_SetEncoderMode(TIM3, LL_TIM_ENCODERMODE_X4_TI12);
  LL_TIM_IC_SetActiveInput(TIM3, LL_TIM_CHANNEL_CH1, LL_TIM_ACTIVEINPUT_DIRECTTI);
  LL_TIM_IC_SetPrescaler(TIM3, LL_TIM_CHANNEL_CH1, LL_TIM_ICPSC_DIV1);
  LL_TIM_IC_SetFilter(TIM3, LL_TIM_CHANNEL_CH1, LL_TIM_IC_FILTER_FDIV1);
  LL_TIM_IC_SetPolarity(TIM3, LL_TIM_CHANNEL_CH1, LL_TIM_IC_POLARITY_RISING);
  LL_TIM_IC_SetActiveInput(TIM3, LL_TIM_CHANNEL_CH2, LL_TIM_ACTIVEINPUT_DIRECTTI);
  LL_TIM_IC_SetPrescaler(TIM3, LL_TIM_CHANNEL_CH2, LL_TIM_ICPSC_DIV1);
  LL_TIM_IC_SetFilter(TIM3, LL_TIM_CHANNEL_CH2, LL_TIM_IC_FILTER_FDIV1);
  LL_TIM_IC_SetPolarity(TIM3, LL_TIM_CHANNEL_CH2, LL_TIM_IC_POLARITY_RISING);
  TIM_InitStruct.Prescaler = 0;
  TIM_InitStruct.CounterMode = LL_TIM_COUNTERMODE_UP;
  TIM_InitStruct.Autoreload = 65535;
  TIM_InitStruct.ClockDivision = LL_TIM_CLOCKDIVISION_DIV1;
  LL_TIM_Init(TIM3, &TIM_InitStruct);
  LL_TIM_DisableARRPreload(TIM3);
  LL_TIM_SetTriggerOutput(TIM3, LL_TIM_TRGO_RESET);
  LL_TIM_DisableMasterSlaveMode(TIM3);
  /* USER CODE BEGIN TIM3_Init 2 */
	LL_TIM_SetCounter(TIM3, 0);
	LL_TIM_EnableCounter(TIM3);
	LL_TIM_ClearFlag_UPDATE(TIM3);
	LL_TIM_EnableIT_UPDATE(TIM3);
  /* USER CODE END TIM3_Init 2 */

}

static void MX_TIM4_Init(void)
{

  LL_TIM_InitTypeDef TIM_InitStruct = {0};
  LL_TIM_OC_InitTypeDef TIM_OC_InitStruct = {0};

  /* Peripheral clock enable */
  LL_APB1_GRP1_EnableClock(LL_APB1_GRP1_PERIPH_TIM4);

  /* TIM4 interrupt Init */
  NVIC_SetPriority(TIM4_IRQn, NVIC_EncodePriority(NVIC_GetPriorityGrouping(),0, 0));
  NVIC_EnableIRQ(TIM4_IRQn);

  TIM_InitStruct.Prescaler = 23;
  TIM_InitStruct.CounterMode = LL_TIM_COUNTERMODE_UP;
  TIM_InitStruct.Autoreload = 59999;
  TIM_InitStruct.ClockDivision = LL_TIM_CLOCKDIVISION_DIV1;
  LL_TIM_Init(TIM4, &TIM_InitStruct);
  LL_TIM_DisableARRPreload(TIM4);
  LL_TIM_SetClockSource(TIM4, LL_TIM_CLOCKSOURCE_INTERNAL);
  LL_TIM_OC_EnablePreload(TIM4, LL_TIM_CHANNEL_CH1);
  TIM_OC_InitStruct.OCMode = LL_TIM_OCMODE_PWM1;
  TIM_OC_InitStruct.OCState = LL_TIM_OCSTATE_DISABLE;
  TIM_OC_InitStruct.OCNState = LL_TIM_OCSTATE_DISABLE;
  TIM_OC_InitStruct.CompareValue = 4500;
  TIM_OC_InitStruct.OCPolarity = LL_TIM_OCPOLARITY_HIGH;
  LL_TIM_OC_Init(TIM4, LL_TIM_CHANNEL_CH1, &TIM_OC_InitStruct);
  LL_TIM_OC_DisableFast(TIM4, LL_TIM_CHANNEL_CH1);
  TIM_OC_InitStruct.OCMode = LL_TIM_OCMODE_FROZEN;
  LL_TIM_OC_Init(TIM4, LL_TIM_CHANNEL_CH2, &TIM_OC_InitStruct);
  LL_TIM_OC_DisableFast(TIM4, LL_TIM_CHANNEL_CH2);
  LL_TIM_SetTriggerOutput(TIM4, LL_TIM_TRGO_RESET);
  LL_TIM_DisableMasterSlaveMode(TIM4);
  LL_TIM_OC_DisablePreload(TIM4, LL_TIM_CHANNEL_CH1);
  /* USER CODE BEGIN TIM4_Init 2 */

	LL_TIM_EnableIT_UPDATE(TIM4);
	LL_TIM_ClearFlag_UPDATE(TIM4);

	LL_TIM_EnableIT_CC1(TIM4);
	LL_TIM_ClearFlag_CC1(TIM4);

//  LL_TIM_EnableIT_CC2(TIM4);
//  LL_TIM_ClearFlag_CC2(TIM4);

	LL_TIM_SetCounter(TIM4, 0);
	LL_TIM_EnableCounter(TIM4);

  /* USER CODE END TIM4_Init 2 */

}

static void MX_USART1_UART_Init(void)
{

  LL_USART_InitTypeDef USART_InitStruct = {0};

  LL_GPIO_InitTypeDef GPIO_InitStruct = {0};

  /* Peripheral clock enable */
  LL_APB2_GRP1_EnableClock(LL_APB2_GRP1_PERIPH_USART1);

  LL_APB2_GRP1_EnableClock(LL_APB2_GRP1_PERIPH_GPIOB);
  /**USART1 GPIO Configuration
  PB6   ------> USART1_TX
  PB7   ------> USART1_RX
  */
  GPIO_InitStruct.Pin = LL_GPIO_PIN_6;
  GPIO_InitStruct.Mode = LL_GPIO_MODE_ALTERNATE;
  GPIO_InitStruct.Speed = LL_GPIO_SPEED_FREQ_HIGH;
  GPIO_InitStruct.OutputType = LL_GPIO_OUTPUT_PUSHPULL;
  LL_GPIO_Init(GPIOB, &GPIO_InitStruct);

  GPIO_InitStruct.Pin = LL_GPIO_PIN_7;
  GPIO_InitStruct.Mode = LL_GPIO_MODE_FLOATING;
  LL_GPIO_Init(GPIOB, &GPIO_InitStruct);

  LL_GPIO_AF_EnableRemap_USART1();

  USART_InitStruct.BaudRate = 115200;
  USART_InitStruct.DataWidth = LL_USART_DATAWIDTH_8B;
  USART_InitStruct.StopBits = LL_USART_STOPBITS_1;
  USART_InitStruct.Parity = LL_USART_PARITY_NONE;
  USART_InitStruct.TransferDirection = LL_USART_DIRECTION_TX;
  USART_InitStruct.HardwareFlowControl = LL_USART_HWCONTROL_NONE;
  USART_InitStruct.OverSampling = LL_USART_OVERSAMPLING_16;
  LL_USART_Init(USART1, &USART_InitStruct);
  LL_USART_ConfigAsyncMode(USART1);
  LL_USART_Enable(USART1);

}

static void MX_DMA_Init(void)
{

  /* Init with LL driver */
  /* DMA controller clock enable */
  LL_AHB1_GRP1_EnableClock(LL_AHB1_GRP1_PERIPH_DMA1);

  /* DMA interrupt init */
  /* DMA1_Channel1_IRQn interrupt configuration */
  NVIC_SetPriority(DMA1_Channel1_IRQn, NVIC_EncodePriority(NVIC_GetPriorityGrouping(),1, 0));
  NVIC_EnableIRQ(DMA1_Channel1_IRQn);

}

static void MX_GPIO_Init(void)
{
  LL_EXTI_InitTypeDef EXTI_InitStruct = {0};
  LL_GPIO_InitTypeDef GPIO_InitStruct = {0};

  /* GPIO Ports Clock Enable */
  LL_APB2_GRP1_EnableClock(LL_APB2_GRP1_PERIPH_GPIOC);
  LL_APB2_GRP1_EnableClock(LL_APB2_GRP1_PERIPH_GPIOD);
  LL_APB2_GRP1_EnableClock(LL_APB2_GRP1_PERIPH_GPIOA);
  LL_APB2_GRP1_EnableClock(LL_APB2_GRP1_PERIPH_GPIOB);

  /**/
  LL_GPIO_ResetOutputPin(GPIOC, Debug_Led_Pin|Debug_GPIO_Pin);

  /**/
  LL_GPIO_ResetOutputPin(GPIOB, LL_GPIO_PIN_15);

  /**/
  LL_GPIO_ResetOutputPin(GPIOA, LL_GPIO_PIN_9|LL_GPIO_PIN_11);

  /**/
  GPIO_InitStruct.Pin = Debug_Led_Pin;
  GPIO_InitStruct.Mode = LL_GPIO_MODE_OUTPUT;
  GPIO_InitStruct.Speed = LL_GPIO_SPEED_FREQ_LOW;
  GPIO_InitStruct.OutputType = LL_GPIO_OUTPUT_PUSHPULL;
  LL_GPIO_Init(Debug_Led_GPIO_Port, &GPIO_InitStruct);

  /**/
  GPIO_InitStruct.Pin = Debug_GPIO_Pin;
  GPIO_InitStruct.Mode = LL_GPIO_MODE_OUTPUT;
  GPIO_InitStruct.Speed = LL_GPIO_SPEED_FREQ_HIGH;
  GPIO_InitStruct.OutputType = LL_GPIO_OUTPUT_PUSHPULL;
  LL_GPIO_Init(Debug_GPIO_GPIO_Port, &GPIO_InitStruct);

  /**/
  GPIO_InitStruct.Pin = Distance_Pin;
  GPIO_InitStruct.Mode = LL_GPIO_MODE_INPUT;
  GPIO_InitStruct.Pull = LL_GPIO_PULL_UP;
  LL_GPIO_Init(Distance_GPIO_Port, &GPIO_InitStruct);

  /**/
  GPIO_InitStruct.Pin = LL_GPIO_PIN_15;
  GPIO_InitStruct.Mode = LL_GPIO_MODE_OUTPUT;
  GPIO_InitStruct.Speed = LL_GPIO_SPEED_FREQ_HIGH;
  GPIO_InitStruct.OutputType = LL_GPIO_OUTPUT_PUSHPULL;
  LL_GPIO_Init(GPIOB, &GPIO_InitStruct);

  /**/
  GPIO_InitStruct.Pin = LL_GPIO_PIN_9;
  GPIO_InitStruct.Mode = LL_GPIO_MODE_OUTPUT;
  GPIO_InitStruct.Speed = LL_GPIO_SPEED_FREQ_LOW;
  GPIO_InitStruct.OutputType = LL_GPIO_OUTPUT_PUSHPULL;
  LL_GPIO_Init(GPIOA, &GPIO_InitStruct);

  /**/
  GPIO_InitStruct.Pin = LL_GPIO_PIN_11;
  GPIO_InitStruct.Mode = LL_GPIO_MODE_OUTPUT;
  GPIO_InitStruct.Speed = LL_GPIO_SPEED_FREQ_HIGH;
  GPIO_InitStruct.OutputType = LL_GPIO_OUTPUT_PUSHPULL;
  LL_GPIO_Init(GPIOA, &GPIO_InitStruct);

  /**/
  LL_GPIO_AF_SetEXTISource(LL_GPIO_AF_EXTI_PORTB, LL_GPIO_AF_EXTI_LINE12);

  /**/
  LL_GPIO_AF_SetEXTISource(LL_GPIO_AF_EXTI_PORTB, LL_GPIO_AF_EXTI_LINE13);

  /**/
  LL_GPIO_AF_SetEXTISource(LL_GPIO_AF_EXTI_PORTB, LL_GPIO_AF_EXTI_LINE14);

  /**/
  EXTI_InitStruct.Line_0_31 = LL_EXTI_LINE_12;
  EXTI_InitStruct.LineCommand = ENABLE;
  EXTI_InitStruct.Mode = LL_EXTI_MODE_IT;
  EXTI_InitStruct.Trigger = LL_EXTI_TRIGGER_RISING;
  LL_EXTI_Init(&EXTI_InitStruct);

  /**/
  EXTI_InitStruct.Line_0_31 = LL_EXTI_LINE_13;
  EXTI_InitStruct.LineCommand = ENABLE;
  EXTI_InitStruct.Mode = LL_EXTI_MODE_IT;
  EXTI_InitStruct.Trigger = LL_EXTI_TRIGGER_RISING;
  LL_EXTI_Init(&EXTI_InitStruct);

  /**/
  EXTI_InitStruct.Line_0_31 = LL_EXTI_LINE_14;
  EXTI_InitStruct.LineCommand = ENABLE;
  EXTI_InitStruct.Mode = LL_EXTI_MODE_IT;
  EXTI_InitStruct.Trigger = LL_EXTI_TRIGGER_RISING;
  LL_EXTI_Init(&EXTI_InitStruct);

  /**/
  LL_GPIO_SetPinMode(BTN1_GPIO_Port, BTN1_Pin, LL_GPIO_MODE_FLOATING);

  /**/
  LL_GPIO_SetPinMode(BTN2_GPIO_Port, BTN2_Pin, LL_GPIO_MODE_FLOATING);

  /**/
  LL_GPIO_SetPinMode(BTN3_GPIO_Port, BTN3_Pin, LL_GPIO_MODE_FLOATING);

  /* EXTI interrupt init*/
  NVIC_SetPriority(EXTI15_10_IRQn, NVIC_EncodePriority(NVIC_GetPriorityGrouping(),2, 0));
  NVIC_EnableIRQ(EXTI15_10_IRQn);

}

/* USER CODE BEGIN 4 */

void GetThreshold() {
	printf("Getting White Line \n");
	while(BTN2_Flag == 0);
//	while(LL_GPIO_IsInputPinSet(BTN2_GPIO_Port,BTN2_Pin) == 0);
	BTN2_Flag = 0;
	MotorL_SetPWM(3600);
	MotorR_SetPWM(3600);
	uint16_t WhiteValue[] = { 0, 0, 0, 0, 0, 0, 0, 0 };

	for (int i = 0; i < ADC_Sample_Times; ++i) {
		for (int i = 0; i < NumberOfSensor; ++i) {
			if (Sensor_ADC_Value[i] > WhiteValue[i]) {
				WhiteValue[i] = Sensor_ADC_Value[i];
			}
		}
	}
	printf("WhiteValue:\t");
	for (int i = 0; i < 8; ++i) {
			printf("%d \t",WhiteValue[i] );
		}
	printf("\r\n");
	MotorL_SetPWM(0);
	MotorR_SetPWM(0);
	BTN2_Flag = 0;
	while(BTN2_Flag == 0);
//	while(LL_GPIO_IsInputPinSet(BTN2_GPIO_Port,BTN2_Pin) == 0);
	BTN2_Flag = 0;
	printf("Getting Black Line\n");
	MotorL_SetPWM(-3600);
	MotorR_SetPWM(-3600);
	uint16_t BlackValue[] = { 4095, 4095, 4095, 4095, 4095, 4095, 4095, 4095 };
	for (int i = 0; i < ADC_Sample_Times; ++i) {
		for (int i = 0; i < NumberOfSensor; ++i) {
			if (Sensor_ADC_Value[i] < BlackValue[i]) {
				BlackValue[i] = Sensor_ADC_Value[i];
			}
		}
	}
	printf("BlackValue:\t");
	for (int i = 0; i < 8; ++i) {
			printf("%d \t",BlackValue[i] );
		}
	printf("\r\n");
	MotorL_SetPWM(0);
	MotorR_SetPWM(0);
	printf("Done:\t");
	for (int i = 0; i < 8; ++i) {
		Sensor_Threshold[i] = (BlackValue[i] + WhiteValue[i]) / 2;
		printf("%d \t",Sensor_Threshold[i] );
	}
	printf("\r\n");

}
void Sensor_Convert_A2D() {
	LineDetect = 0;
	for (int i = 0; i < 8; ++i) {
		if (Sensor_ADC_Value[i] < Sensor_Threshold[i]) {
			sbi(LineDetect, (7 - i));
			//			  printf("1 ");
		}
	};
	//	printf("\n");
	//	LL_mDelay(500);
}

void Sensor_Print_Thres() {
	printf("Threshold Val:\t");
	for (int i = 0; i < 8; ++i) {
		printf("%u \t", Sensor_Threshold[i]);
	}
	printf("\n");
}
void Sensor_PrintValue() {
	printf("Sensor Val:\t");
	for (int i = 0; i < 8; ++i) {
		printf("%u \t", Sensor_ADC_Value[i]);
	};
	printf("\n");
}

void Sensor_Print_LineDetect() {
	//	if(PrevLine != LineDetect)
	//	{
	char buffer[8];
	itoa(LineDetect, buffer, 2);
	printf("binary: %s\n", buffer);
	//	}
}
void BTN_Process() {
	if (GetThreshold_Flag == 1) {
		GetThreshold_Flag = 0;
		Sensor_Print_LineDetect();
	}

	if (BTN2_Flag == 1) {
		BTN2_Flag = 0;
		ServoAngle = ServoAngle - BTN_Servo_Step;
		Servo_SetAngle(ServoAngle);
		printf("Servo Angle: %g  \n", ServoAngle);
	}

	if (BTN3_Flag == 1) {
		BTN3_Flag = 0;
		ServoAngle = ServoAngle + BTN_Servo_Step;
		Servo_SetAngle(ServoAngle);
		printf("Servo Angle: %g \n", ServoAngle);
	}
}

void Car_DiThang_Process() {
	MotorL_SetPWM(MaxSpeed);
	MotorR_SetPWM(MaxSpeed*0.95);
	Servo_SetAngle(0);

}
void Car_BamLine_Process() {
	if (CarState == LechTrai) {
		switch (LineDetect) {
		case 0b11000000: // 1
			MotorR_SetPWM(MaxSpeed * 0.60);
			MotorL_SetPWM(MaxSpeed * 0.80);
			Servo_SetAngle(59); // 73
			break;
		case 0b10000000: // 2
			MotorR_SetPWM(MaxSpeed * 0.60);
			MotorL_SetPWM(MaxSpeed * 0.85);
			Servo_SetAngle(52.5); // 64
			break;
			//    case 0b10000001: // 3
			//      MotorR_SetPWM(MaxSpeed * 0.8);
			//      MotorL_SetPWM(MaxSpeed * 0.9);
			//      Servo_SetAngle(59);
			//      break;
		case 0b00000000: // 4
			MotorR_SetPWM(MaxSpeed * 0.65);
			MotorL_SetPWM(MaxSpeed * 0.85);
			Servo_SetAngle(47); // 59
			break;
		case 0b00000001: // 5
			MotorR_SetPWM(MaxSpeed * 0.70);
			MotorL_SetPWM(MaxSpeed * 0.9);
			Servo_SetAngle(31); // 45
			break;
		case 0b00000011: // 6
			MotorR_SetPWM(MaxSpeed * 0.85);
			MotorL_SetPWM(MaxSpeed * 0.95);
			Servo_SetAngle(33); //33
			break;
		case 0b00000111: // 7
			MotorR_SetPWM(MaxSpeed * 0.70);
			MotorL_SetPWM(MaxSpeed * 0.95);
			Servo_SetAngle(25); // 25
			break;
		case 0b00000110:
			MotorR_SetPWM(MaxSpeed * 0.75);
			MotorL_SetPWM(MaxSpeed * 0.95);
			Servo_SetAngle(19); //-24
			break;
		case 0b00001110: // 8
			MotorR_SetPWM(MaxSpeed * 0.93);
			MotorL_SetPWM(MaxSpeed * 1);
			Servo_SetAngle(18); //20
			break;
		case 0b00001100: //9
			MotorR_SetPWM(MaxSpeed * 0.90);
			MotorL_SetPWM(MaxSpeed * 1);
			Servo_SetAngle(10); //10
			break;
//    case 0b00001000: // 10
//      MotorL_SetPWM(MaxSpeed * 0.98);
//      MotorR_SetPWM(MaxSpeed * 1);
//      Servo_SetAngle(6);
//      break;
			//			  case 0b00011100:
			//				  MotorR_SetPWM(MaxSpeed * 0.95);
			//				  MotorL_SetPWM(MaxSpeed * 1);
			//				  Servo_SetAngle(4);
		}
		return;
	};
	if (CarState == LechPhai) {
		switch (LineDetect) {
		case 0b00000011: // 1
			MotorR_SetPWM(MaxSpeed * 0.60);
			MotorL_SetPWM(MaxSpeed * 0.80);
			Servo_SetAngle(-45); // -67
			break;
		case 0b00000001: // 2
			MotorL_SetPWM(MaxSpeed * 0.60);
			MotorR_SetPWM(MaxSpeed * 0.85);
			Servo_SetAngle(-40); // -62
			break;
//			    case 0b10000001: // 3
//			      MotorR_SetPWM(MaxSpeed * 0.80);
//			      MotorL_SetPWM(MaxSpeed * 0.90);
//			      Servo_SetAngle(-59);
//			      break;
		case 0b00000000: // 4
			MotorL_SetPWM(MaxSpeed * 0.65);
			MotorR_SetPWM(MaxSpeed * 0.85);
			Servo_SetAngle(-36); //-52
			break;
		case 0b10000000: // 5
			MotorL_SetPWM(MaxSpeed * 0.70);
			MotorR_SetPWM(MaxSpeed * 0.90);
			Servo_SetAngle(-31); //-43
			break;
		case 0b11000000: // 6
			MotorL_SetPWM(MaxSpeed * 0.87);
			MotorR_SetPWM(MaxSpeed * 0.95);
			Servo_SetAngle(-26); //-35
			break;
		case 0b11100000: // 7
			MotorL_SetPWM(MaxSpeed * 0.70);
			MotorR_SetPWM(MaxSpeed * 0.95);
			Servo_SetAngle(-22); //-27
			break;
		case 0b01100000:
			MotorL_SetPWM(MaxSpeed * 0.75);
			MotorR_SetPWM(MaxSpeed * 0.95);
			Servo_SetAngle(-21); //-24
			break;
		case 0b01110000: // 8
			MotorL_SetPWM(MaxSpeed * 0.93);
			MotorR_SetPWM(MaxSpeed * 1);
			Servo_SetAngle(-16); //-22
			break;
		case 0b00110000: //9
			MotorL_SetPWM(MaxSpeed * 0.95);
			MotorR_SetPWM(MaxSpeed * 1);
			Servo_SetAngle(-10); //-13
			break;
//    case 0b00010000: // 10
//      MotorL_SetPWM(MaxSpeed * 0.98);
//      MotorR_SetPWM(MaxSpeed * 1);
//      Servo_SetAngle(-5);
//      break;
			//			  case 0b00111000:
			//				  MotorL_SetPWM(MaxSpeed * 0.95);
			//				  MotorR_SetPWM(MaxSpeed * 1);
			//				  Servo_SetAngle(-0);
		}
		return;
	}
}

void Car_MatLine_Process() {
//	LL_GPIO_SetOutputPin(Debug_Led_GPIO_Port, Debug_Led_Pin);

	switch (LineDetect) {
	case 0b10000000:
		MotorR_SetPWM(MaxSpeed * 0.9);
		MotorL_SetPWM(MaxSpeed * 1.3);
		Servo_SetAngle(15);
		break;
	case 0b11000000:
		MotorR_SetPWM(MaxSpeed * 0.8);
		MotorL_SetPWM(MaxSpeed * 1.3);
		Servo_SetAngle(19);
		break;
	}
}
void Car_ChuyenLanePhai_Process() {
	ChuyenLaneFlag = 1;
//	LL_GPIO_SetOutputPin(Debug_Led_GPIO_Port, Debug_Led_Pin);
	MotorL_SetPWM(MaxSpeed * 2);      //0.7
	MotorR_SetPWM(MaxSpeed * 1.7);      //0.5
	Servo_SetAngle(54);
	CarState = LechTrai;
	while (!(LineDetect == 0b00011000 || LineDetect == 0b00011100
			|| LineDetect == 0b00111000))
		Sensor_Convert_A2D();
	MatLineFlag = 0;
	FullWhiteFlag = 0;
	HalfWhiteFlag = 0;
	HalfWhiteFlag_Raw = 0;
}
void Car_ChuyenLaneTrai_Process() {
	ChuyenLaneFlag = 1;
	MotorR_SetPWM(MaxSpeed * 2);      //0.7
	MotorL_SetPWM(MaxSpeed * 1.7);      //0.5
	Servo_SetAngle(-30);
	CarState = LechPhai;
	while (!(LineDetect == 0b00011000 || LineDetect == 0b00011100
			|| LineDetect == 0b00111000))
		Sensor_Convert_A2D();
	MatLineFlag = 0;
	FullWhiteFlag = 0;
	HalfWhiteFlag = 0;
	HalfWhiteFlag_Raw = 0;
}
void Car_CuaPhai_Process() {
	Servo_SetAngle(85);
	MotorR_SetPWM(MaxSpeed * 1.0);
	MotorL_SetPWM(MaxSpeed * 1.6);
	while (!(LineDetect == 0b00011000 || LineDetect == 0b00011100
			|| LineDetect == 0b00111000)) {
		Sensor_Convert_A2D();
	}
	MatLineFlag = 0;
	FullWhiteFlag = 0;
	HalfWhiteFlag = 0;
	HalfWhiteFlag_Raw = 0;
}
void Car_CuaTrai_Process() {
	Servo_SetAngle(-75);
	MotorL_SetPWM(MaxSpeed * 1.4);
	MotorR_SetPWM(MaxSpeed * 1.7);
	while (!(LineDetect == 0b00011000 || LineDetect == 0b00011100
			|| LineDetect == 0b00111000)) {
		Sensor_Convert_A2D();
	}
	MatLineFlag = 0;
	FullWhiteFlag = 0;
	HalfWhiteFlag = 0;
	HalfWhiteFlag_Raw = 0;
}
void Car_Avoid_Process()
{
	Servo_SetAngle(65);
	MotorL_SetPWM(MaxSpeed * 1.5);
	MotorR_SetPWM(MaxSpeed * 1.9);
	while(!(LineDetect == 0b00000001 || LineDetect == 0b00000011) )
		Sensor_Convert_A2D();
	Servo_SetAngle(-45);
	MotorR_SetPWM(MaxSpeed * 1.2);
	MotorL_SetPWM(MaxSpeed * 1.5);
	while(!(LineDetect == 0b10000000 || LineDetect == 0b11000000))
		Sensor_Convert_A2D();
	Servo_SetAngle(15);
	MotorR_SetPWM(MaxSpeed * 1.2);
	MotorL_SetPWM(MaxSpeed * 1.7);
	while(!(LineDetect == 0b00011000 || LineDetect == 0b00011100 || LineDetect == 0b00111000))
		Sensor_Convert_A2D();
	MatLineFlag = 0;
	FullWhiteFlag = 0;
	HalfWhiteFlag = 0;
	HalfWhiteFlag_Raw = 0;
}
/* USER CODE END 4 */

void Error_Handler(void)
{
}

/************************ (C) COPYRIGHT STMicroelectronics *****END OF FILE****/
